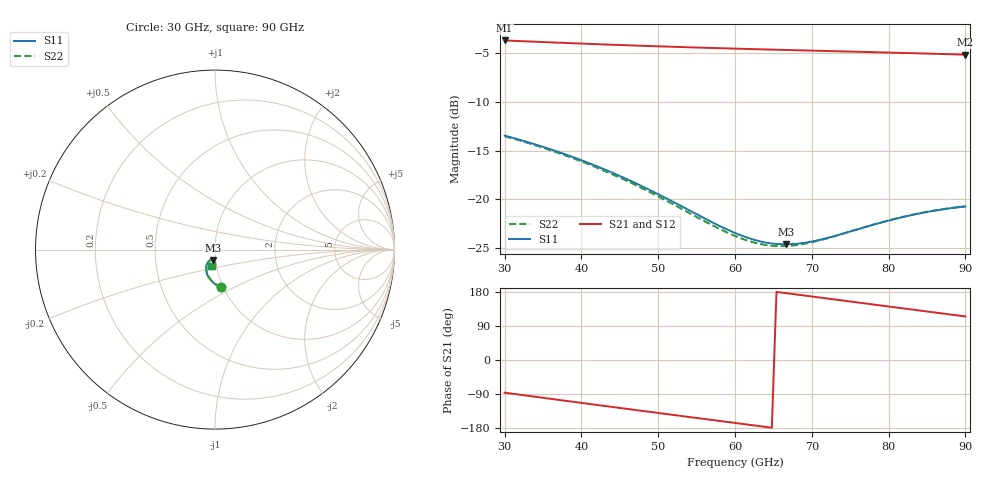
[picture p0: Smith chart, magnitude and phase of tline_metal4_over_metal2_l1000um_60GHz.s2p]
#  GHZ S DB R 50
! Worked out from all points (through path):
!   101 points, 30 GHz to 90 GHz, reference 50 ohm
!   highest |S21| = -3.74 dB at 30 GHz (marker M1); lowest = -5.2 dB at 90 GHz (marker M2)
!   group delay of S21, straight-line fit = 7.34 ps
!   lowest |S11| = -24.6 dB at 66.6 GHz (marker M3), VSWR 1.13, Z = 48.4 - j5.6 ohm
!   |S11| at or under -10 dB: start of sweep to end of sweep
!   |S22| runs from -24.8 to -13.5 dB; largest |S21 - S12| = 7.5e-14
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30  -13.47 -80.9  -3.74 -86.1  -3.74 -86.1  -13.54 -80.8
32.4  -14.00 -86.6  -3.82 -92.7  -3.82 -92.7  -14.07 -86.5
34.8  -14.57 -92.0  -3.89 -99.2  -3.89 -99.2  -14.66 -91.9
37.2  -15.19 -97.2  -3.97 -105.7  -3.97 -105.7  -15.30 -97.0
40.2  -16.05 -103.2  -4.06 -113.7  -4.06 -113.7  -16.17 -102.9
42.6  -16.80 -107.5  -4.13 -120.1  -4.13 -120.1  -16.94 -107.2
45.6  -17.81 -112.2  -4.22 -128.1  -4.22 -128.1  -17.99 -111.9
50.4  -19.62 -117.7  -4.35 -140.8  -4.35 -140.8  -19.85 -117.1
52.8  -20.60 -119.1  -4.41 -147.1  -4.41 -147.1  -20.85 -118.3
55.2  -21.59 -119.3  -4.47 -153.5  -4.47 -153.5  -21.87 -118.3
57.6  -22.56 -118.1  -4.52 -159.8  -4.52 -159.8  -22.86 -116.7
60  -23.43 -115.4  -4.57 -166.1  -4.57 -166.1  -23.73 -113.6
61.8  -23.96 -112.4  -4.61 -170.8  -4.61 -170.8  -24.25 -110.3
63.6  -24.34 -108.8  -4.65 -175.6  -4.65 -175.6  -24.60 -106.4
66.6  -24.59 -102.3  -4.71 176.5  -4.71 176.5  -24.77 -99.5
68.4  -24.50 -98.6  -4.75 171.8  -4.75 171.8  -24.63 -95.8
70.2  -24.27 -95.6  -4.78 167.1  -4.78 167.1  -24.35 -92.9
75  -23.28 -91.3  -4.88 154.4  -4.88 154.4  -23.27 -89.0
77.4  -22.73 -91.1  -4.92 148.1  -4.92 148.1  -22.70 -89.1
80.4  -22.09 -92.3  -4.98 140.2  -4.98 140.2  -22.05 -90.6
85.2  -21.26 -96.6  -5.08 127.5  -5.08 127.5  -21.23 -95.2
90  -20.71 -102.6  -5.19 114.9  -5.19 114.9  -20.71 -101.5
